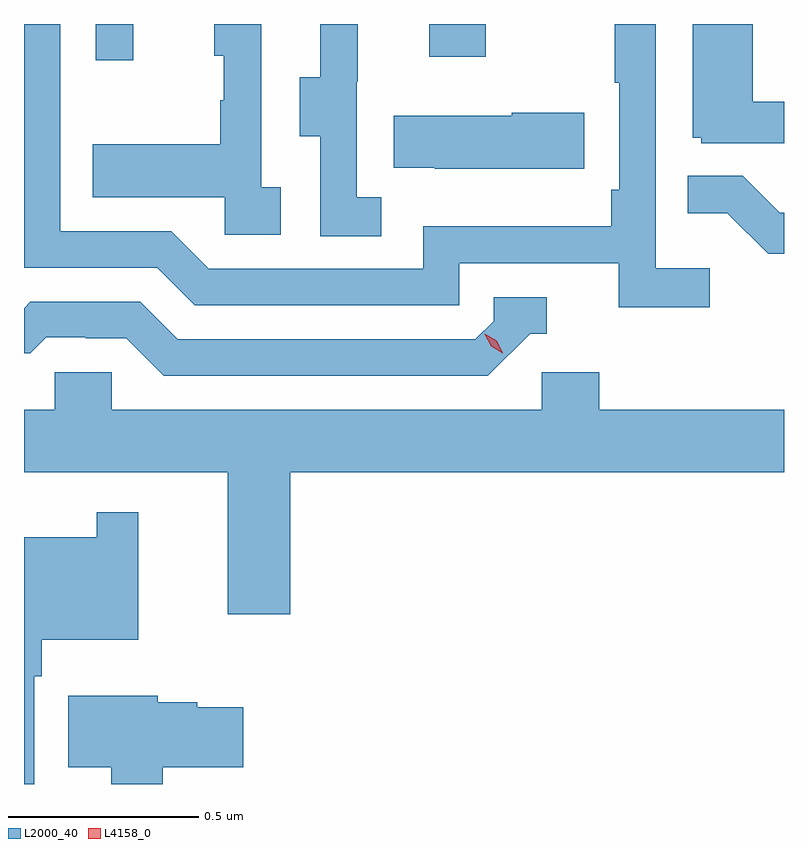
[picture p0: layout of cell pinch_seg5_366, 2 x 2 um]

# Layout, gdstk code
import gdstk
lib = gdstk.Library(unit=1e-6, precision=1e-09)
def R(c, l, rs):  # rectangles x0, y0, x1, y1
    for r in rs: c.add(gdstk.rectangle(r[:2], r[2:], *l))
def P(c, l, *ps):  # polygons
    for p in ps: c.add(gdstk.Polygon(p, *l))
L2000_40 = (2000, 40)
L4158_0 = (4158, 0)

pinch_seg5_366 = lib.new_cell('pinch_seg5_366')
R(pinch_seg5_366, L2000_40, [(967.857,891.144,967.955,891.239), (968.735,891.153,968.883,891.239)])
P(pinch_seg5_366, L2000_40, [(969.472,890.596),(969.33,890.596),(969.33,891.239),(969.222,891.239),(969.222,891.085),(969.234,891.085),(969.234,890.803),(969.214,890.803),(969.214,890.707),(968.718,890.707),(968.718,890.595),(968.154,890.595),(968.055,890.694),(967.764,890.694),(967.764,891.239),(967.668,891.239),(967.668,890.598),(968.018,890.598),(968.117,890.499),(968.814,890.499),(968.814,890.61),(969.233,890.61),(969.233,890.494),(969.472,890.494)],
  [(968.344,890.81),(968.292,890.81),(968.292,891.239),(968.168,891.239),(968.168,891.156),(968.194,891.156),(968.194,891.038),(968.184,891.038),(968.184,890.923),(967.849,890.923),(967.849,890.783),(968.196,890.783),(968.196,890.685),(968.344,890.685)],
  [(969.668,891.034),(969.586,891.034),(969.586,891.239),(969.428,891.239),(969.428,890.94),(969.45,890.94),(969.45,890.925),(969.668,890.925)],
  [(968.608,890.783),(968.544,890.783),(968.544,891.087),(968.546,891.087),(968.546,891.239),(968.447,891.239),(968.447,891.099),(968.393,891.099),(968.393,890.944),(968.448,890.944),(968.448,890.68),(968.608,890.68)],
  [(969.142,891.006),(968.951,891.006),(968.951,890.998),(968.641,890.998),(968.641,890.861),(968.749,890.861),(968.749,890.858),(969.142,890.858)],
  [(969.668,890.742),(969.657,890.742),(969.559,890.84),(969.415,890.84),(969.415,890.741),(969.519,890.741),(969.626,890.634),(969.668,890.634)],
  [(969,890.424),(969.043,890.424),(969.043,890.52),(968.904,890.52),(968.904,890.457),(968.856,890.409),(968.073,890.409),(967.974,890.508),(967.685,890.508),(967.668,890.491),(967.668,890.373),(967.685,890.373),(967.727,890.415),(967.83,890.415),(967.83,890.412),(967.937,890.412),(968.036,890.313),(968.889,890.313)],
  [(968.368,890.06),(969.668,890.06),(969.668,890.224),(969.182,890.224),(969.182,890.322),(969.03,890.322),(969.03,890.224),(967.899,890.224),(967.899,890.322),(967.749,890.322),(967.749,890.224),(967.668,890.224),(967.668,890.06),(968.204,890.06),(968.204,889.686),(968.368,889.686)],
  [(967.695,889.523),(967.715,889.523),(967.715,889.619),(967.968,889.619),(967.968,889.954),(967.86,889.954),(967.86,889.888),(967.668,889.888),(967.668,889.239),(967.695,889.239)],
  [(968.033,889.283),(968.245,889.283),(968.245,889.441),(968.124,889.441),(968.124,889.454),(968.02,889.454),(968.02,889.471),(967.784,889.471),(967.784,889.283),(967.898,889.283),(967.898,889.239),(968.033,889.239)])
P(pinch_seg5_366, L4158_0, [(968.928,890.372),(968.897,890.391),(968.881,890.423),(968.881,890.424),(968.881,890.424),(968.912,890.405),(968.928,890.372),(968.928,890.372)])

lib.write_gds('pinch_seg5_366.gds')
